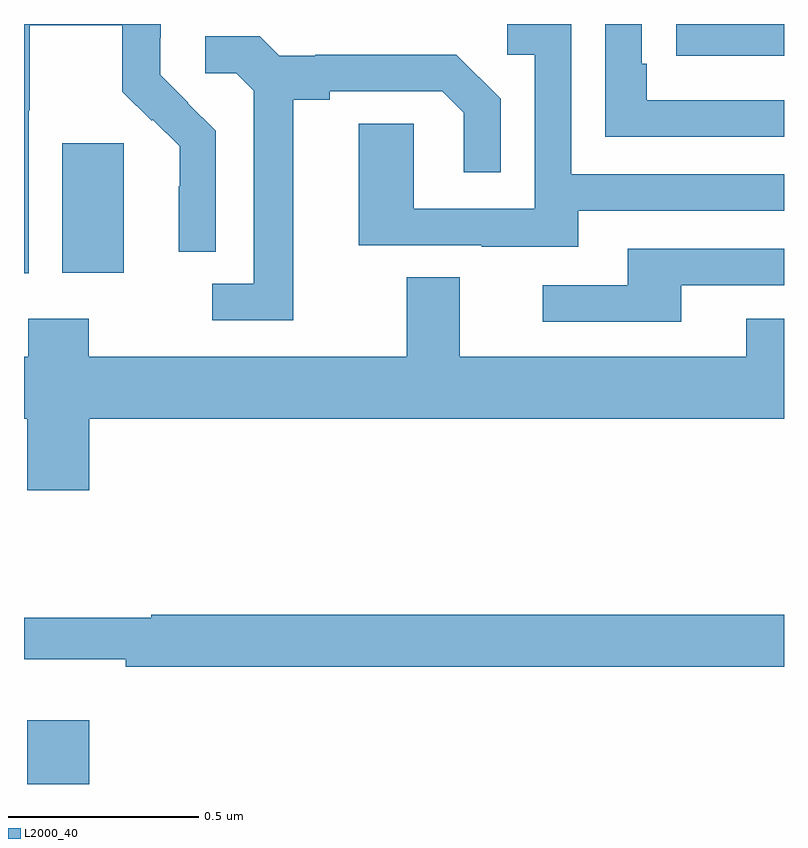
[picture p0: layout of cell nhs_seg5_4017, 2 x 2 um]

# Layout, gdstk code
import gdstk
lib = gdstk.Library(unit=1e-6, precision=1e-09)
def R(c, l, rs):  # rectangles x0, y0, x1, y1
    for r in rs: c.add(gdstk.rectangle(r[:2], r[2:], *l))
def P(c, l, *ps):  # polygons
    for p in ps: c.add(gdstk.Polygon(p, *l))
L2000_40 = (2000, 40)

nhs_seg5_4017 = lib.new_cell('nhs_seg5_4017')
R(nhs_seg5_4017, L2000_40, [(165.008,855.799,165.172,855.967), (165.101,857.145,165.262,857.485)])
P(nhs_seg5_4017, L2000_40, [(167,857.598),(166.639,857.598),(166.639,857.695),(166.626,857.695),(166.626,857.799),(166.53,857.799),(166.53,857.502),(167,857.502)],
  [(165.012,857.572),(165.015,857.572),(165.015,857.796),(165.259,857.796),(165.259,857.621),(165.336,857.544),(165.339,857.547),(165.41,857.477),(165.41,857.372),(165.407,857.372),(165.407,857.2),(165.504,857.2),(165.504,857.518),(165.431,857.591),(165.432,857.592),(165.358,857.666),(165.358,857.763),(165.36,857.763),(165.36,857.799),(165,857.799),(165,857.143),(165.012,857.143)],
  [(167,857.799),(166.717,857.799),(166.717,857.716),(166.819,857.716),(166.819,857.715),(167,857.715)],
  [(166.459,857.307),(167,857.307),(167,857.403),(166.44,857.403),(166.44,857.799),(166.272,857.799),(166.272,857.718),(166.344,857.718),(166.344,857.313),(166.026,857.313),(166.026,857.537),(165.881,857.537),(165.881,857.217),(166.205,857.217),(166.205,857.213),(166.459,857.213)],
  [(165.709,857.6),(165.805,857.6),(165.805,857.622),(166.1,857.622),(166.157,857.565),(166.157,857.409),(166.254,857.409),(166.254,857.602),(166.138,857.718),(165.766,857.718),(165.766,857.715),(165.672,857.715),(165.62,857.767),(165.477,857.767),(165.477,857.67),(165.558,857.67),(165.605,857.623),(165.605,857.115),(165.495,857.115),(165.495,857.019),(165.709,857.019)],
  [(166.729,857.112),(167,857.112),(167,857.208),(166.589,857.208),(166.589,857.112),(166.365,857.112),(166.365,857.016),(166.729,857.016)],
  [(165.172,856.76),(167,856.76),(167,857.023),(166.901,857.023),(166.901,856.924),(166.147,856.924),(166.147,857.132),(166.007,857.132),(166.007,856.924),(165.171,856.924),(165.171,857.023),(165.011,857.023),(165.011,856.924),(165,856.924),(165,856.76),(165.008,856.76),(165.008,856.572),(165.172,856.572)],
  [(167,856.244),(165.335,856.244),(165.335,856.237),(165,856.237),(165,856.127),(165.268,856.127),(165.268,856.108),(167,856.108)])

lib.write_gds('nhs_seg5_4017.gds')
